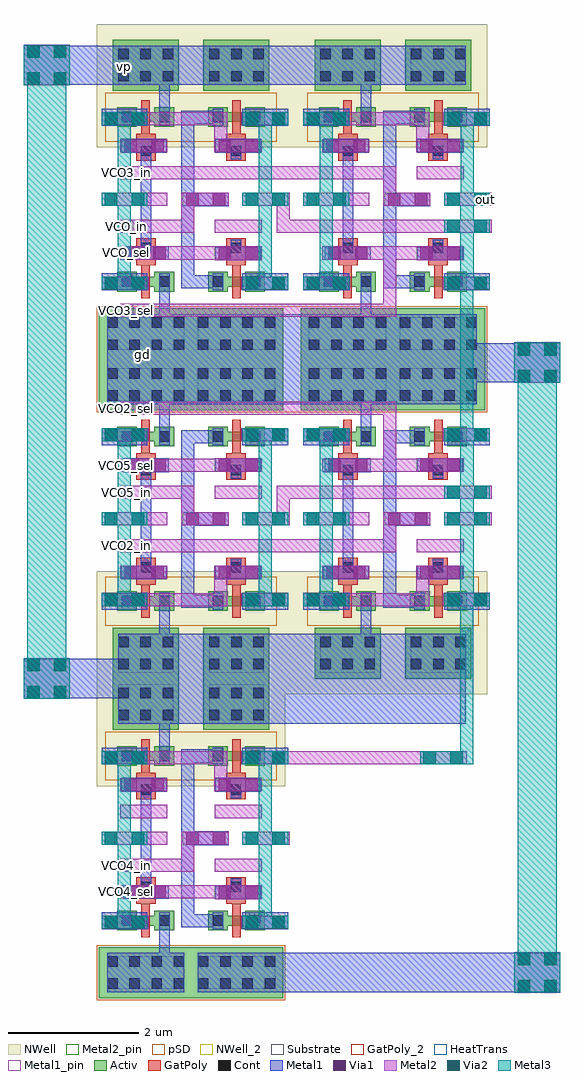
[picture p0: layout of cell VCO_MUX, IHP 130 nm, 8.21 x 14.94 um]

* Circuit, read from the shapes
.subckt VCO_MUX VCO2_in VCO2_sel VCO3_in VCO3_sel VCO4_in VCO4_sel VCO5_in VCO5_sel VCO_in VCO_sel gd out vp
XM1 gd VCO4_sel passgate_scaled_13/en_ gd sg13_lv_nmos w=0.15u l=0.13u
XM2 gd VCO5_sel passgate_scaled_10/en_ gd sg13_lv_nmos w=0.15u l=0.13u
XM3 gd VCO_sel passgate_scaled_4/en_ gd sg13_lv_nmos w=0.15u l=0.13u
XM4 out VCO4_sel VCO4_in gd sg13_lv_nmos w=0.15u l=0.13u
XM5 out VCO5_sel VCO5_in gd sg13_lv_nmos w=0.15u l=0.13u
XM6 out VCO_sel VCO_in gd sg13_lv_nmos w=0.15u l=0.13u
XM7 gd VCO2_sel passgate_scaled_7/en_ gd sg13_lv_nmos w=0.15u l=0.13u
XM8 gd VCO3_sel passgate_scaled_1/en_ gd sg13_lv_nmos w=0.15u l=0.13u
XM9 out VCO2_sel VCO2_in gd sg13_lv_nmos w=0.15u l=0.13u
XM10 out VCO3_sel VCO3_in gd sg13_lv_nmos w=0.15u l=0.13u
XM11 vp VCO4_sel passgate_scaled_13/en_ vp sg13_lv_pmos w=0.15u l=0.13u
XM12 vp VCO5_sel passgate_scaled_10/en_ vp sg13_lv_pmos w=0.15u l=0.13u
XM13 vp VCO_sel passgate_scaled_4/en_ vp sg13_lv_pmos w=0.15u l=0.13u
XM14 out passgate_scaled_13/en_ VCO4_in vp sg13_lv_pmos w=0.15u l=0.13u
XM15 out passgate_scaled_10/en_ VCO5_in vp sg13_lv_pmos w=0.15u l=0.13u
XM16 out passgate_scaled_4/en_ VCO_in vp sg13_lv_pmos w=0.15u l=0.13u
XM17 vp VCO2_sel passgate_scaled_7/en_ vp sg13_lv_pmos w=0.15u l=0.13u
XM18 vp VCO3_sel passgate_scaled_1/en_ vp sg13_lv_pmos w=0.15u l=0.13u
XM19 out passgate_scaled_7/en_ VCO2_in vp sg13_lv_pmos w=0.15u l=0.13u
XM20 out passgate_scaled_1/en_ VCO3_in vp sg13_lv_pmos w=0.15u l=0.13u
.ends

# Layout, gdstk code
from math import pi, radians
import gdstk
lib = gdstk.Library(unit=1e-6, precision=1e-09)
def R(c, l, rs):  # rectangles x0, y0, x1, y1
    for r in rs: c.add(gdstk.rectangle(r[:2], r[2:], *l))
def A(c, l, x, y, w, h, nx, ny, dx, dy):  # array of equal rectangles
    R(c, l, [(x+i*dx, y+j*dy, x+i*dx+w, y+j*dy+h) for i in range(nx) for j in range(ny)])
Activ = (1, 0)
GatPoly = (5, 0)
GatPoly_2 = (5, 2)
Cont = (6, 0)
Metal1 = (8, 0)
Metal1_pin = (8, 2)
Metal2 = (10, 0)
Metal2_pin = (10, 2)
pSD = (14, 0)
Via1 = (19, 0)
Via2 = (29, 0)
Metal3 = (30, 0)
NWell = (31, 0)
NWell_2 = (31, 2)
Substrate = (40, 0)
HeatTrans = (51, 0)

via_8_4 = lib.new_cell('Via$8$4')
R(via_8_4, Metal1, [(-0.35,-0.105,0.35,0.105)])
R(via_8_4, Metal2, [(-0.35,-0.1,0.35,0.1)])
R(via_8_4, Via1, [(-0.3,-0.095,-0.11,0.095), (0.11,-0.095,0.3,0.095)])

via_5 = lib.new_cell('Via$5')
R(via_5, Metal2, [(-0.35,-0.1,0.35,0.1)])
R(via_5, Via2, [(-0.3,-0.095,-0.11,0.095), (0.11,-0.095,0.3,0.095)])
R(via_5, Metal3, [(-0.35,-0.1,0.35,0.1)])

ntap1_1_2 = lib.new_cell('ntap1$1$2')
R(ntap1_1_2, Activ, [(0,0,1.01,0.78)])
A(ntap1_1_2, Cont, 0.085, 0.14, 0.16, 0.16, 3, 2, 0.34, 0.34)
R(ntap1_1_2, Metal1, [(0.085,0.09,0.925,0.69)])
R(ntap1_1_2, Metal1_pin, [(0.085,0.09,0.925,0.69), (0.085,0.14,0.925,0.64)])
R(ntap1_1_2, NWell, [(-0.24,-0.24,1.25,1.02), (0,0,1.01,0.78)])
R(ntap1_1_2, NWell_2, [(0,0,1.01,0.78)])
ntap1_1_2.add(gdstk.Label('well', (0.505,0.01), layer=63, texttype=0))
ntap1_1_2.add(gdstk.Label('well', (0.505,0.01), layer=31, texttype=0))

ptap1_1_2 = lib.new_cell('ptap1$1$2')
R(ptap1_1_2, Activ, [(0,0,1.43,0.78)])
A(ptap1_1_2, Cont, 0.125, 0.14, 0.16, 0.16, 4, 2, 0.34, 0.34)
R(ptap1_1_2, Metal1, [(0.125,0.09,1.305,0.69), (0.125,0.14,1.305,0.64)])
R(ptap1_1_2, Metal1_pin, [(0.125,0.14,1.305,0.64)])
R(ptap1_1_2, pSD, [(-0.03,-0.03,1.46,0.81)])
R(ptap1_1_2, Substrate, [(0,0,1.43,0.78)])
ptap1_1_2.add(gdstk.Label('sub!', (0.715,0.01), layer=63, texttype=0))
ptap1_1_2.add(gdstk.Label('sub!', (0.715,0.01), layer=40, texttype=0))

via_10_2 = lib.new_cell('Via$10$2')
R(via_10_2, Metal1, [(-0.35,-0.105,0.35,0.105)])
R(via_10_2, Metal2, [(-0.35,-0.1,0.35,0.1)])
R(via_10_2, Via1, [(-0.3,-0.095,-0.11,0.095), (0.11,-0.095,0.3,0.095)])

nmos_1_2 = lib.new_cell('nmos$1$2')
R(nmos_1_2, Activ, [(0,0,0.3,0.3), (0.57,0,0.87,0.3), (0,0.075,0.87,0.225)])
R(nmos_1_2, GatPoly, [(0.37,-0.105,0.5,0.405)])
R(nmos_1_2, GatPoly_2, [(0.37,-0.105,0.5,0.405)])
R(nmos_1_2, Cont, [(0.07,0.07,0.23,0.23), (0.64,0.07,0.8,0.23)])
R(nmos_1_2, Metal1, [(0.07,0.02,0.23,0.28), (0.64,0.02,0.8,0.28)])
R(nmos_1_2, Metal1_pin, [(0.07,0.02,0.23,0.28), (0.64,0.02,0.8,0.28)])
R(nmos_1_2, HeatTrans, [(0.37,-0.105,0.5,0.405)])
nmos_1_2.add(gdstk.Label('nmos', (0.435,0.15), layer=63, texttype=0))
nmos_1_2.add(gdstk.Label('nmos', (0.435,0.15), layer=51, texttype=0))

pmos_1_2 = lib.new_cell('pmos$1$2')
R(pmos_1_2, Activ, [(0,0,0.3,0.3), (0.57,0,0.87,0.3), (0,0.075,0.87,0.225)])
R(pmos_1_2, GatPoly, [(0.37,-0.105,0.5,0.405), (0.37,-0.105,0.5,0.405)])
R(pmos_1_2, Cont, [(0.07,0.07,0.23,0.23), (0.64,0.07,0.8,0.23)])
R(pmos_1_2, Metal1, [(0.07,0.02,0.23,0.28), (0.07,0.02,0.23,0.28), (0.64,0.02,0.8,0.28), (0.64,0.02,0.8,0.28)])
R(pmos_1_2, pSD, [(-0.18,-0.225,1.05,0.525)])
R(pmos_1_2, NWell, [(-0.31,-0.31,1.18,0.61)])
R(pmos_1_2, Substrate, [(0.57,0,0.87,0.3)])
R(pmos_1_2, HeatTrans, [(0.37,-0.105,0.5,0.405)])
pmos_1_2.add(gdstk.Label('pmos', (0.435,0.15), layer=63, texttype=0))
pmos_1_2.add(gdstk.Label('pmos', (0.435,0.15), layer=51, texttype=0))

via_12_5 = lib.new_cell('Via$12$5')
R(via_12_5, GatPoly, [(-0.15,-0.15,0.15,0.15)])
R(via_12_5, Cont, [(-0.08,-0.08,0.08,0.08)])
R(via_12_5, Metal1, [(-0.13,-0.08,0.13,0.08)])

passgate_scaled = lib.new_cell('passgate_scaled')
R(passgate_scaled, GatPoly, [(9.375,7.165,9.675,7.275), (9.375,9.065,9.675,9.175)])
R(passgate_scaled, Metal1, [(9.62,6.78,10.32,7.04), (9.62,9.3,10.32,9.56)])
R(passgate_scaled, Metal1_pin, [(9.16,6.015,9.36,6.215), (9.325,10.12,9.525,10.32)])
R(passgate_scaled, Metal2_pin, [(9.2,7.24,9.4,7.44), (8.71,8.07,8.91,8.27), (10.12,8.07,10.32,8.27), (9.2,8.89,9.4,9.09)])
passgate_scaled.add(gdstk.FlexPath([(10.32,8.17),(9.62,8.17)], 0.2, ends="flush", simple_path=True, layer=10, datatype=0))  # Metal2
passgate_scaled.add(gdstk.FlexPath([(9.765,9.405),(9.6,9.405)], 0.2, ends="flush", simple_path=True, layer=10, datatype=0))  # Metal2
passgate_scaled.add(gdstk.FlexPath([(9.765,6.885),(9.6,6.885)], 0.2, ends="flush", simple_path=True, layer=10, datatype=0))  # Metal2
passgate_scaled.add(gdstk.FlexPath([(9.41,8.17),(8.71,8.17)], 0.2, ends="flush", simple_path=True, layer=10, datatype=0))  # Metal2
passgate_scaled.add(gdstk.FlexPath([(9.35,7.345),(9.92,7.345)], 0.2, ends="flush", simple_path=True, layer=10, datatype=0))  # Metal2
passgate_scaled.add(gdstk.FlexPath([(10.22,8.17),(10.345,8.17)], 0.2, ends="flush", simple_path=True, layer=10, datatype=0))  # Metal2
passgate_scaled.add(gdstk.FlexPath([(8.81,8.17),(8.685,8.17)], 0.2, ends="flush", simple_path=True, layer=10, datatype=0))  # Metal2
passgate_scaled.add(gdstk.FlexPath([(9.2,7.34),(9.92,7.34)], 0.2, ends="flush", simple_path=True, layer=10, datatype=0))  # Metal2
passgate_scaled.add(gdstk.FlexPath([(9.2,8.99),(9.92,8.99)], 0.2, ends="flush", simple_path=True, layer=10, datatype=0))  # Metal2
passgate_scaled.add(gdstk.FlexPath([(9.2,8.58),(9.92,8.58)], 0.2, ends="flush", simple_path=True, layer=10, datatype=0))  # Metal2
passgate_scaled.add(gdstk.FlexPath([(9.2,7.76),(9.92,7.76)], 0.2, ends="flush", simple_path=True, layer=10, datatype=0))  # Metal2
passgate_scaled.add(gdstk.FlexPath([(9.97,6.885),(9.97,8.17)], 0.2, ends="flush", simple_path=True, layer=30, datatype=0))  # Metal3
passgate_scaled.add(gdstk.FlexPath([(9.97,9.405),(9.97,8.17)], 0.2, ends="flush", simple_path=True, layer=30, datatype=0))  # Metal3
passgate_scaled.add(gdstk.FlexPath([(9.105,9.43),(8.785,9.43),(8.785,6.91),(9.105,6.91)], 0.2, ends="flush", simple_path=True, layer=8, datatype=0))  # Metal1
passgate_scaled.add(gdstk.FlexPath([(9.045,6.91),(9.225,6.91)], 0.2, ends="flush", simple_path=True, layer=8, datatype=0))  # Metal1
passgate_scaled.add(gdstk.FlexPath([(8.995,9.43),(9.245,9.43)], 0.2, ends="flush", simple_path=True, layer=8, datatype=0))  # Metal1
passgate_scaled.add(gdstk.Reference(via_5, (9.97,6.885)))
passgate_scaled.add(gdstk.Reference(ntap1_1_2, (9.025,9.835)))
passgate_scaled.add(gdstk.Reference(ptap1_1_2, (8.815,5.725)))
passgate_scaled.add(gdstk.Reference(via_10_2, (9.97,6.885), rotation=pi))
passgate_scaled.add(gdstk.Reference(nmos_1_2, (9.095,6.76)))
passgate_scaled.add(gdstk.Reference(pmos_1_2, (9.095,9.28)))
passgate_scaled.add(gdstk.Reference(via_12_5, (9.525,8.915), rotation=pi/2))
passgate_scaled.add(gdstk.Reference(via_12_5, (9.525,7.425), rotation=3*pi/2))
passgate_scaled.add(gdstk.Reference(via_5, (9.97,9.405)))
passgate_scaled.add(gdstk.Reference(via_10_2, (9.555,8.99), rotation=pi))
passgate_scaled.add(gdstk.Reference(via_10_2, (9.97,9.405), rotation=pi))
passgate_scaled.add(gdstk.Reference(via_5, (9.97,8.17)))
passgate_scaled.add(gdstk.Reference(via_10_2, (9.555,7.345)))
passgate_scaled.add(gdstk.Reference(via_10_2, (9.06,8.17)))
passgate_scaled.add(gdstk.Label('OI', (10.22,8.17), layer=10, texttype=25))
passgate_scaled.add(gdstk.Label('IO', (8.81,8.17), layer=10, texttype=25))
passgate_scaled.add(gdstk.Label('en_', (9.3,8.99), layer=10, texttype=25))
passgate_scaled.add(gdstk.Label('en', (9.3,7.34), layer=10, texttype=25))
passgate_scaled.add(gdstk.Label('VP', (9.295,10.22), layer=8, texttype=25))
passgate_scaled.add(gdstk.Label('GND', (9.26,6.115), layer=8, texttype=25))

via_4_1 = lib.new_cell('Via$4$1')
R(via_4_1, Metal2, [(-0.1,-0.35,0.1,0.35)])
R(via_4_1, Via2, [(-0.095,-0.3,0.095,-0.11), (-0.095,0.11,0.095,0.3)])
R(via_4_1, Metal3, [(-0.1,-0.35,0.1,0.35)])

ntap1_1 = lib.new_cell('ntap1$1')
R(ntap1_1, Activ, [(0,0,1.01,0.78)])
A(ntap1_1, Cont, 0.085, 0.14, 0.16, 0.16, 3, 2, 0.34, 0.34)
R(ntap1_1, Metal1, [(0.085,0.09,0.925,0.69)])
R(ntap1_1, Metal1_pin, [(0.085,0.09,0.925,0.69), (0.085,0.14,0.925,0.64)])
R(ntap1_1, NWell, [(-0.24,-0.24,1.25,1.02), (0,0,1.01,0.78)])
R(ntap1_1, NWell_2, [(0,0,1.01,0.78)])
ntap1_1.add(gdstk.Label('well', (0.505,0.01), layer=63, texttype=0))
ntap1_1.add(gdstk.Label('well', (0.505,0.01), layer=31, texttype=0))

ptap1_1 = lib.new_cell('ptap1$1')
R(ptap1_1, Activ, [(0,0,1.43,0.78)])
A(ptap1_1, Cont, 0.125, 0.14, 0.16, 0.16, 4, 2, 0.34, 0.34)
R(ptap1_1, Metal1, [(0.125,0.09,1.305,0.69), (0.125,0.14,1.305,0.64)])
R(ptap1_1, Metal1_pin, [(0.125,0.14,1.305,0.64)])
R(ptap1_1, pSD, [(-0.03,-0.03,1.46,0.81)])
R(ptap1_1, Substrate, [(0,0,1.43,0.78)])
ptap1_1.add(gdstk.Label('sub!', (0.715,0.01), layer=63, texttype=0))
ptap1_1.add(gdstk.Label('sub!', (0.715,0.01), layer=40, texttype=0))

via_2_1 = lib.new_cell('Via$2$1')
R(via_2_1, Metal1, [(-0.105,-0.35,0.105,0.35)])
R(via_2_1, Metal2, [(-0.1,-0.35,0.1,0.35)])
R(via_2_1, Via1, [(-0.095,-0.3,0.095,-0.11), (-0.095,0.11,0.095,0.3)])

nmos_1 = lib.new_cell('nmos$1')
R(nmos_1, Activ, [(0,0,0.3,0.3), (0.57,0,0.87,0.3), (0,0.075,0.87,0.225)])
R(nmos_1, GatPoly, [(0.37,-0.105,0.5,0.405)])
R(nmos_1, GatPoly_2, [(0.37,-0.105,0.5,0.405)])
R(nmos_1, Cont, [(0.07,0.07,0.23,0.23), (0.64,0.07,0.8,0.23)])
R(nmos_1, Metal1, [(0.07,0.02,0.23,0.28), (0.64,0.02,0.8,0.28)])
R(nmos_1, Metal1_pin, [(0.07,0.02,0.23,0.28), (0.64,0.02,0.8,0.28)])
R(nmos_1, HeatTrans, [(0.37,-0.105,0.5,0.405)])
nmos_1.add(gdstk.Label('nmos', (0.435,0.15), layer=63, texttype=0))
nmos_1.add(gdstk.Label('nmos', (0.435,0.15), layer=51, texttype=0))

pmos_1 = lib.new_cell('pmos$1')
R(pmos_1, Activ, [(0,0,0.3,0.3), (0.57,0,0.87,0.3), (0,0.075,0.87,0.225)])
R(pmos_1, GatPoly, [(0.37,-0.105,0.5,0.405), (0.37,-0.105,0.5,0.405)])
R(pmos_1, Cont, [(0.07,0.07,0.23,0.23), (0.64,0.07,0.8,0.23)])
R(pmos_1, Metal1, [(0.07,0.02,0.23,0.28), (0.07,0.02,0.23,0.28), (0.64,0.02,0.8,0.28), (0.64,0.02,0.8,0.28)])
R(pmos_1, pSD, [(-0.18,-0.225,1.05,0.525)])
R(pmos_1, NWell, [(-0.31,-0.31,1.18,0.61)])
R(pmos_1, Substrate, [(0.57,0,0.87,0.3)])
R(pmos_1, HeatTrans, [(0.37,-0.105,0.5,0.405)])
pmos_1.add(gdstk.Label('pmos', (0.435,0.15), layer=63, texttype=0))
pmos_1.add(gdstk.Label('pmos', (0.435,0.15), layer=51, texttype=0))

via_9 = lib.new_cell('Via$9')
R(via_9, GatPoly, [(-0.15,-0.15,0.15,0.15)])
R(via_9, Cont, [(-0.08,-0.08,0.08,0.08)])
R(via_9, Metal1, [(-0.13,-0.08,0.13,0.08)])

via_7 = lib.new_cell('Via$7')
R(via_7, Metal2, [(-0.35,-0.1,0.35,0.1)])
R(via_7, Via2, [(-0.3,-0.095,-0.11,0.095), (0.11,-0.095,0.3,0.095)])
R(via_7, Metal3, [(-0.35,-0.1,0.35,0.1)])

inverter = lib.new_cell('inverter')
R(inverter, GatPoly, [(9.375,7.165,9.675,7.275), (9.375,9.065,9.675,9.175)])
R(inverter, Metal1, [(9.505,6.78,10.205,7.04), (9.505,9.3,10.205,9.56)])
R(inverter, Metal1_pin, [(9.16,6.015,9.36,6.215), (9.325,10.12,9.525,10.32)])
R(inverter, Metal2_pin, [(10.005,8.07,10.205,8.27), (9.2,8.89,9.4,9.09)])
inverter.add(gdstk.FlexPath([(9.65,9.405),(9.485,9.405)], 0.2, ends="flush", simple_path=True, layer=10, datatype=0))  # Metal2
inverter.add(gdstk.FlexPath([(9.65,6.885),(9.485,6.885)], 0.2, ends="flush", simple_path=True, layer=10, datatype=0))  # Metal2
inverter.add(gdstk.FlexPath([(9.2,8.99),(9.92,8.99)], 0.2, ends="flush", simple_path=True, layer=10, datatype=0))  # Metal2
inverter.add(gdstk.FlexPath([(9.2,8.58),(9.92,8.58)], 0.2, ends="flush", simple_path=True, layer=10, datatype=0))  # Metal2
inverter.add(gdstk.FlexPath([(9.2,7.76),(9.92,7.76)], 0.2, ends="flush", simple_path=True, layer=10, datatype=0))  # Metal2
inverter.add(gdstk.FlexPath([(9.2,7.35),(9.92,7.35)], 0.2, ends="flush", simple_path=True, layer=10, datatype=0))  # Metal2
inverter.add(gdstk.FlexPath([(9.2,8.17),(10.205,8.17)], 0.2, ends="flush", simple_path=True, layer=10, datatype=0))  # Metal2
inverter.add(gdstk.FlexPath([(9.855,6.885),(9.855,8.17)], 0.2, ends="flush", simple_path=True, layer=30, datatype=0))  # Metal3
inverter.add(gdstk.FlexPath([(9.855,9.405),(9.855,8.17)], 0.2, ends="flush", simple_path=True, layer=30, datatype=0))  # Metal3
inverter.add(gdstk.FlexPath([(9.245,9.56),(9.245,10.525)], 0.16, ends="flush", simple_path=True, layer=8, datatype=0))  # Metal1
inverter.add(gdstk.FlexPath([(9.245,6.78),(9.245,6.415)], 0.16, ends="flush", simple_path=True, layer=8, datatype=0))  # Metal1
inverter.add(gdstk.FlexPath([(9.525,7.555),(9.525,8.785)], 0.16, ends="flush", simple_path=True, layer=8, datatype=0))  # Metal1
inverter.add(gdstk.Reference(via_4_1, (9.855,6.885), rotation=3*pi/2))
inverter.add(gdstk.Reference(ntap1_1, (9.025,9.835)))
inverter.add(gdstk.Reference(ptap1_1, (8.815,5.725)))
inverter.add(gdstk.Reference(via_2_1, (9.855,6.885), rotation=3*pi/2))
inverter.add(gdstk.Reference(nmos_1, (9.095,6.76)))
inverter.add(gdstk.Reference(pmos_1, (9.095,9.28)))
inverter.add(gdstk.Reference(via_9, (9.525,8.915), rotation=pi/2))
inverter.add(gdstk.Reference(via_9, (9.525,7.425), rotation=3*pi/2))
inverter.add(gdstk.Reference(via_4_1, (9.855,9.405), rotation=3*pi/2))
inverter.add(gdstk.Reference(via_2_1, (9.555,8.99), rotation=3*pi/2))
inverter.add(gdstk.Reference(via_2_1, (9.855,9.405), rotation=3*pi/2))
inverter.add(gdstk.Reference(via_7, (9.855,8.17)))
inverter.add(gdstk.Label('out', (10.105,8.17), layer=10, texttype=25))
inverter.add(gdstk.Label('in', (9.3,8.99), layer=10, texttype=25))
inverter.add(gdstk.Label('VP', (9.295,10.22), layer=8, texttype=25))
inverter.add(gdstk.Label('GND', (9.26,6.115), layer=8, texttype=25))

via_14_4 = lib.new_cell('Via$14$4')
R(via_14_4, Metal2, [(-0.35,-0.1,0.35,0.1)])
R(via_14_4, Via2, [(-0.3,-0.095,-0.11,0.095), (0.11,-0.095,0.3,0.095)])
R(via_14_4, Metal3, [(-0.35,-0.1,0.35,0.1)])

via_16_5 = lib.new_cell('Via$16$5')
R(via_16_5, Metal2, [(-0.35,-0.1,0.35,0.1)])
R(via_16_5, Via2, [(-0.3,-0.095,-0.11,0.095), (0.11,-0.095,0.3,0.095)])
R(via_16_5, Metal3, [(-0.35,-0.1,0.35,0.1)])

via_18_4 = lib.new_cell('Via$18$4')
R(via_18_4, Metal1, [(-0.35,-0.31,0.35,0.31)])
R(via_18_4, Metal2, [(-0.35,-0.305,0.35,0.305)])
R(via_18_4, Via1, [(-0.3,-0.3,-0.11,-0.11), (0.11,-0.3,0.3,-0.11), (-0.3,0.11,-0.11,0.3), (0.11,0.11,0.3,0.3)])

via_17_3 = lib.new_cell('Via$17$3')
R(via_17_3, Metal2, [(-0.35,-0.305,0.35,0.305)])
R(via_17_3, Via2, [(-0.3,-0.3,-0.11,-0.11), (0.11,-0.3,0.3,-0.11), (-0.3,0.11,-0.11,0.3), (0.11,0.11,0.3,0.3)])
R(via_17_3, Metal3, [(-0.35,-0.305,0.35,0.305)])

vco_mux = lib.new_cell('VCO_MUX')
R(vco_mux, Metal1, [(7.72,0.145,13.04,1.525), (7.55,5.035,13.21,6.415), (7.72,9.925,13.04,10.525)])
R(vco_mux, Metal1_pin, [(7.99,5.7,8.19,5.9), (7.72,10.105,7.92,10.305)])
R(vco_mux, Metal2_pin, [(7.75,-2.53,7.95,-2.33), (7.75,-2.12,7.95,-1.92), (7.75,2.77,7.95,2.97), (7.75,3.59,7.95,3.79), (7.75,4,7.95,4.2), (7.75,4.875,7.95,5.075), (7.75,6.375,7.95,6.575), (7.75,7.25,7.95,7.45), (7.75,7.66,7.95,7.86), (13.235,8.07,13.435,8.27), (7.75,8.48,7.95,8.68)])
R(vco_mux, pSD, [(7.525,-0.725,10.145,0.025), (7.525,1.645,10.145,2.395), (10.615,1.645,13.235,2.395), (10.08,4.915,10.565,5.755), (10.08,5.695,10.565,6.535), (7.525,9.055,10.145,9.805), (10.615,9.055,13.235,9.805)])
R(vco_mux, NWell, [(9.885,0.595,10.725,2.48), (9.885,8.97,10.725,10.855)])
vco_mux.add(gdstk.FlexPath([(8.37,7.35),(9.92,7.35)], 0.2, ends="flush", simple_path=True, layer=10, datatype=0))  # Metal2
vco_mux.add(gdstk.FlexPath([(8.145,7.35),(8.145,7.35)], 0.2, ends="flush", simple_path=True, layer=10, datatype=0))  # Metal2
vco_mux.add(gdstk.FlexPath([(8.105,9.405),(9.29,9.405),(9.29,8.89)], 0.2, ends="flush", simple_path=True, layer=10, datatype=0))  # Metal2
vco_mux.add(gdstk.FlexPath([(8.39,7.76),(8.785,7.76),(8.785,8.27)], 0.2, ends="flush", simple_path=True, layer=10, datatype=0))  # Metal2
vco_mux.add(gdstk.FlexPath([(12.8,7.76),(13.435,7.76)], 0.2, ends="flush", simple_path=True, layer=10, datatype=0))  # Metal2
vco_mux.add(gdstk.FlexPath([(11.405,7.76),(13.01,7.76)], 0.2, ends="flush", simple_path=True, layer=10, datatype=0))  # Metal2
vco_mux.add(gdstk.FlexPath([(11.395,8.58),(11.875,8.58),(11.875,8.07)], 0.2, ends="flush", simple_path=True, layer=10, datatype=0))  # Metal2
vco_mux.add(gdstk.FlexPath([(11.195,9.405),(12.38,9.405),(12.38,8.89)], 0.2, ends="flush", simple_path=True, layer=10, datatype=0))  # Metal2
vco_mux.add(gdstk.FlexPath([(11.235,7.35),(11.235,7.35)], 0.2, ends="flush", simple_path=True, layer=10, datatype=0))  # Metal2
vco_mux.add(gdstk.FlexPath([(11.46,7.35),(13.01,7.35)], 0.2, ends="flush", simple_path=True, layer=10, datatype=0))  # Metal2
vco_mux.add(gdstk.FlexPath([(11.03,8.58),(8.375,8.58)], 0.2, ends="flush", simple_path=True, layer=10, datatype=0))  # Metal2
vco_mux.add(gdstk.FlexPath([(11.07,7.76),(10.245,7.76),(10.245,8.27)], 0.2, ends="flush", simple_path=True, layer=10, datatype=0))  # Metal2
vco_mux.add(gdstk.FlexPath([(11.875,7.36),(11.875,6.475),(11.085,6.475)], 0.2, ends="flush", simple_path=True, layer=10, datatype=0))  # Metal2
vco_mux.add(gdstk.FlexPath([(11.095,6.475),(7.75,6.475)], 0.2, ends="flush", simple_path=True, layer=10, datatype=0))  # Metal2
vco_mux.add(gdstk.FlexPath([(8.37,4.1),(9.92,4.1)], 0.2, ends="flush", simple_path=True, layer=10, datatype=0))  # Metal2
vco_mux.add(gdstk.FlexPath([(8.145,4.1),(8.145,4.1)], 0.2, ends="flush", simple_path=True, layer=10, datatype=0))  # Metal2
vco_mux.add(gdstk.FlexPath([(8.105,2.045),(9.29,2.045),(9.29,2.56)], 0.2, ends="flush", simple_path=True, layer=10, datatype=0))  # Metal2
vco_mux.add(gdstk.FlexPath([(8.39,3.69),(8.785,3.69),(8.785,3.18)], 0.2, ends="flush", simple_path=True, layer=10, datatype=0))  # Metal2
vco_mux.add(gdstk.FlexPath([(12.8,3.69),(13.435,3.69)], 0.2, ends="flush", simple_path=True, layer=10, datatype=0))  # Metal2
vco_mux.add(gdstk.FlexPath([(11.405,3.69),(13.01,3.69)], 0.2, ends="flush", simple_path=True, layer=10, datatype=0))  # Metal2
vco_mux.add(gdstk.FlexPath([(11.395,2.87),(11.875,2.87),(11.875,3.38)], 0.2, ends="flush", simple_path=True, layer=10, datatype=0))  # Metal2
vco_mux.add(gdstk.FlexPath([(11.195,2.045),(12.38,2.045),(12.38,2.56)], 0.2, ends="flush", simple_path=True, layer=10, datatype=0))  # Metal2
vco_mux.add(gdstk.FlexPath([(11.235,4.1),(11.235,4.1)], 0.2, ends="flush", simple_path=True, layer=10, datatype=0))  # Metal2
vco_mux.add(gdstk.FlexPath([(11.46,4.1),(13.01,4.1)], 0.2, ends="flush", simple_path=True, layer=10, datatype=0))  # Metal2
vco_mux.add(gdstk.FlexPath([(11.03,2.87),(8.375,2.87)], 0.2, ends="flush", simple_path=True, layer=10, datatype=0))  # Metal2
vco_mux.add(gdstk.FlexPath([(11.07,3.69),(10.245,3.69),(10.245,3.18)], 0.2, ends="flush", simple_path=True, layer=10, datatype=0))  # Metal2
vco_mux.add(gdstk.FlexPath([(11.875,4.09),(11.875,4.975),(11.085,4.975)], 0.2, ends="flush", simple_path=True, layer=10, datatype=0))  # Metal2
vco_mux.add(gdstk.FlexPath([(11.095,4.975),(7.75,4.975)], 0.2, ends="flush", simple_path=True, layer=10, datatype=0))  # Metal2
vco_mux.add(gdstk.FlexPath([(8.39,-2.02),(8.785,-2.02),(8.785,-1.51)], 0.2, ends="flush", simple_path=True, layer=10, datatype=0))  # Metal2
vco_mux.add(gdstk.FlexPath([(8.105,-0.375),(9.29,-0.375),(9.29,-0.89)], 0.2, ends="flush", simple_path=True, layer=10, datatype=0))  # Metal2
vco_mux.add(gdstk.FlexPath([(8.145,-2.43),(8.145,-2.43)], 0.2, ends="flush", simple_path=True, layer=10, datatype=0))  # Metal2
vco_mux.add(gdstk.FlexPath([(8.37,-2.43),(9.92,-2.43)], 0.2, ends="flush", simple_path=True, layer=10, datatype=0))  # Metal2
vco_mux.add(gdstk.FlexPath([(10.175,-0.375),(13.055,-0.375)], 0.2, ends="flush", simple_path=True, layer=10, datatype=0))  # Metal2
vco_mux.add(gdstk.FlexPath([(6.625,0.835),(6.625,0.835)], 0.6, ends="flush", simple_path=True, layer=10, datatype=0))  # Metal2
vco_mux.add(gdstk.FlexPath([(6.625,10.225),(6.625,10.225)], 0.6, ends="flush", simple_path=True, layer=10, datatype=0))  # Metal2
vco_mux.add(gdstk.FlexPath([(14.135,-3.665),(14.135,-3.665)], 0.6, ends="flush", simple_path=True, layer=10, datatype=0))  # Metal2
vco_mux.add(gdstk.FlexPath([(14.135,5.67),(14.135,5.67)], 0.6, ends="flush", simple_path=True, layer=10, datatype=0))  # Metal2
vco_mux.add(gdstk.FlexPath([(13.06,3.69),(13.06,3.69)], 0.2, ends="flush", simple_path=True, layer=30, datatype=0))  # Metal3
vco_mux.add(gdstk.FlexPath([(13.06,7.76),(13.06,7.76)], 0.2, ends="flush", simple_path=True, layer=30, datatype=0))  # Metal3
vco_mux.add(gdstk.FlexPath([(13.055,-0.125),(13.055,8.17)], 0.2, ends="flush", simple_path=True, layer=30, datatype=0))  # Metal3
vco_mux.add(gdstk.FlexPath([(13.055,0.02),(13.055,-0.475)], 0.2, ends="flush", simple_path=True, layer=30, datatype=0))  # Metal3
vco_mux.add(gdstk.FlexPath([(6.625,10.225),(6.625,0.835)], 0.6, ends="flush", simple_path=True, layer=30, datatype=0))  # Metal3
vco_mux.add(gdstk.FlexPath([(14.135,5.67),(14.135,-3.665)], 0.6, ends="flush", simple_path=True, layer=30, datatype=0))  # Metal3
vco_mux.add(gdstk.FlexPath([(8.14,0.835),(6.76,0.835)], 0.6, ends="flush", simple_path=True, layer=8, datatype=0))  # Metal1
vco_mux.add(gdstk.FlexPath([(7.72,10.225),(6.625,10.225)], 0.6, ends="flush", simple_path=True, layer=8, datatype=0))  # Metal1
vco_mux.add(gdstk.FlexPath([(10.12,-3.665),(14.135,-3.665)], 0.6, ends="flush", simple_path=True, layer=8, datatype=0))  # Metal1
vco_mux.add(gdstk.FlexPath([(14.135,5.67),(12.795,5.67)], 0.6, ends="flush", simple_path=True, layer=8, datatype=0))  # Metal1
vco_mux.add(gdstk.Reference(via_8_4, (11.235,7.35)))
vco_mux.add(gdstk.Reference(passgate_scaled, (3.09,0)))
vco_mux.add(gdstk.Reference(inverter, (20.76,0), rotation=pi, x_reflection=True))
vco_mux.add(gdstk.Reference(via_8_4, (8.145,7.35)))
vco_mux.add(gdstk.Reference(passgate_scaled, (0,0)))
vco_mux.add(gdstk.Reference(inverter, (17.67,0), rotation=pi, x_reflection=True))
vco_mux.add(gdstk.Reference(via_8_4, (11.235,4.1), x_reflection=True))
vco_mux.add(gdstk.Reference(passgate_scaled, (3.09,11.45), x_reflection=True))
vco_mux.add(gdstk.Reference(inverter, (20.76,11.45), rotation=pi))
vco_mux.add(gdstk.Reference(via_8_4, (8.145,4.1), x_reflection=True))
vco_mux.add(gdstk.Reference(passgate_scaled, (0,11.45), x_reflection=True))
vco_mux.add(gdstk.Reference(inverter, (17.67,11.45), rotation=pi))
vco_mux.add(gdstk.Reference(inverter, (17.67,-9.78), rotation=pi, x_reflection=True))
vco_mux.add(gdstk.Reference(passgate_scaled, (0,-9.78)))
vco_mux.add(gdstk.Reference(via_8_4, (8.145,-2.43)))
vco_mux.add(gdstk.Reference(via_14_4, (13.06,3.69)))
vco_mux.add(gdstk.Reference(via_14_4, (13.06,7.76)))
vco_mux.add(gdstk.Reference(via_16_5, (12.69,-0.375), rotation=pi))
vco_mux.add(gdstk.Reference(via_18_4, (6.625,0.835)))
vco_mux.add(gdstk.Reference(via_17_3, (6.625,0.835)))
vco_mux.add(gdstk.Reference(via_18_4, (6.625,10.225)))
vco_mux.add(gdstk.Reference(via_17_3, (6.625,10.225)))
vco_mux.add(gdstk.Reference(via_18_4, (14.135,-3.665)))
vco_mux.add(gdstk.Reference(via_17_3, (14.135,-3.665)))
vco_mux.add(gdstk.Reference(via_18_4, (14.135,5.67)))
vco_mux.add(gdstk.Reference(via_17_3, (14.135,5.67)))
vco_mux.add(gdstk.Label('VCO_sel', (7.85,7.35), layer=10, texttype=25))
vco_mux.add(gdstk.Label('VCO_in', (7.85,7.76), layer=10, texttype=25))
vco_mux.add(gdstk.Label('VCO3_sel', (7.85,6.475), layer=10, texttype=25))
vco_mux.add(gdstk.Label('VCO3_in', (7.85,8.58), layer=10, texttype=25))
vco_mux.add(gdstk.Label('VCO5_sel', (7.85,4.1), layer=10, texttype=25))
vco_mux.add(gdstk.Label('VCO5_in', (7.85,3.69), layer=10, texttype=25))
vco_mux.add(gdstk.Label('VCO2_sel', (7.85,4.975), layer=10, texttype=25))
vco_mux.add(gdstk.Label('VCO2_in', (7.85,2.87), layer=10, texttype=25))
vco_mux.add(gdstk.Label('VCO4_in', (7.85,-2.02), layer=10, texttype=25))
vco_mux.add(gdstk.Label('VCO4_sel', (7.85,-2.43), layer=10, texttype=25))
vco_mux.add(gdstk.Label('out', (13.335,8.17), layer=10, texttype=25))
vco_mux.add(gdstk.Label('vp', (7.82,10.205), layer=8, texttype=25))
vco_mux.add(gdstk.Label('gd', (8.09,5.8), layer=8, texttype=25))

lib.write_gds('VCO_MUX.gds')
